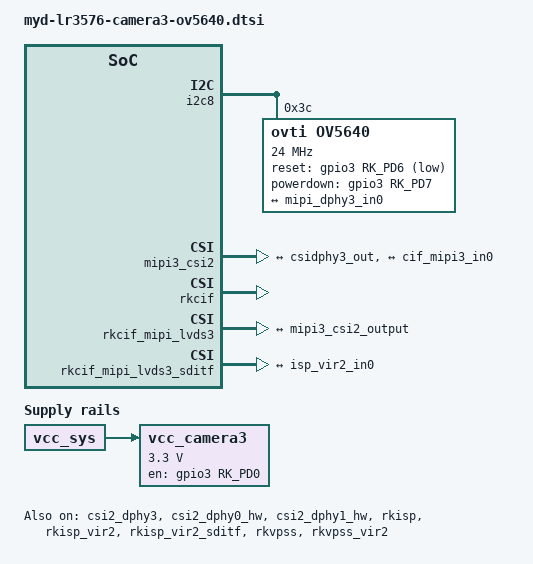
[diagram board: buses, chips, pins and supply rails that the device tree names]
// SPDX-License-Identifier: (GPL-2.0+ OR MIT)
/*
 * Copyright (c) 2024 MYIR Electronics Co., Ltd.
 *
 */

/ {

	vcc_camera3: vcc-camera3 {
		compatible = "regulator-fixed";
		regulator-name = "vcc_camera3";
		regulator-boot-on;
		regulator-always-on;
		regulator-min-microvolt = <3300000>;
		regulator-max-microvolt = <3300000>;
		enable-active-high;
		gpio = <&gpio3 RK_PD0 GPIO_ACTIVE_HIGH>;
		pinctrl-names = "default";
		pinctrl-0 = <&camera3_pwr>;
		vin-supply = <&vcc_sys>;
	};

	clk_camera3_fixed: clock {
		compatible = "fixed-clock";
		#clock-cells = <0>;
		clock-frequency = <24000000>;
		clock-output-names = "CLK_CAMERA3_24MHZ";
	};
};

&csi2_dphy3 {
	status = "okay";

	ports {
		#address-cells = <1>;
		#size-cells = <0>;
		port@0 {
			reg = <0>;
			#address-cells = <1>;
			#size-cells = <0>;

			mipi_dphy3_in0: endpoint@1 {
				reg = <1>;
				remote-endpoint = <&ov5640_out>;
				data-lanes = <1 2>;
			};
		};
		port@1 {
			reg = <1>;
			#address-cells = <1>;
			#size-cells = <0>;

			csidphy3_out: endpoint@0 {
				reg = <0>;
				remote-endpoint = <&mipi3_csi2_input>;
			};
		};
	};
};

&csi2_dphy0_hw {
	status = "okay";
};

&csi2_dphy1_hw {
	status = "okay";
};

&i2c8 {
	status = "okay";
	pinctrl-names = "default";
	pinctrl-0 = <&i2c8m2_xfer>;
	
	ov5640: ov5640@3c {
		status = "okay";
		compatible = "ovti,ov5640";
		reg = <0x3c>;
		clocks = <&clk_camera3_fixed>;
		clock-names = "xclk";
		clock-frequency = <24000000>;
		power-domains = <&power RK3576_PD_VI>;
		reset-gpios = <&gpio3 RK_PD6 GPIO_ACTIVE_LOW>;
		powerdown-gpios = <&gpio3 RK_PD7 GPIO_ACTIVE_HIGH>;
		rockchip,camera-module-index = <0>;
		rockchip,camera-module-facing = "back";
		rockchip,camera-module-name = "default";
		rockchip,camera-module-lens-name = "default";

		port {
			ov5640_out: endpoint {
				remote-endpoint = <&mipi_dphy3_in0>;
				data-lanes = <1 2>;
			};
		};
	};
};

&mipi3_csi2 {
	status = "okay";

	ports {
		#address-cells = <1>;
		#size-cells = <0>;

		port@0 {
			reg = <0>;
			#address-cells = <1>;
			#size-cells = <0>;

			mipi3_csi2_input: endpoint@1 {
				reg = <1>;
				remote-endpoint = <&csidphy3_out>;
			};
		};

		port@1 {
			reg = <1>;
			#address-cells = <1>;
			#size-cells = <0>;

			mipi3_csi2_output: endpoint@0 {
				reg = <0>;
				remote-endpoint = <&cif_mipi3_in0>;
			};
		};
	};
};

&pinctrl {
	camera3_pwr {
		camera3_pwr: camera3-pwr {
			rockchip,pins =
				/* camera power en */
				<3 RK_PD0 RK_FUNC_GPIO &pcfg_pull_none>;
		};
	};

	camera3_default_pins {
		camera3_default_pins: camera3-default-pins {
			rockchip,pins =
				<3 RK_PD6 RK_FUNC_GPIO &pcfg_pull_up>,
				<3 RK_PD7 RK_FUNC_GPIO &pcfg_pull_up>;
		};
	};

	camera3_sleep_pins {
		camera3_sleep_pins: camera3-sleep-pins {
			rockchip,pins =
				<3 RK_PD6 RK_FUNC_GPIO &pcfg_pull_up>,
				<3 RK_PD7 RK_FUNC_GPIO &pcfg_pull_up>;
		};
	};
};

&rkcif {
	status = "okay";
};

&rkcif_mipi_lvds3 {
	status = "okay";

	port {
		cif_mipi3_in0: endpoint {
			remote-endpoint = <&mipi3_csi2_output>;
		};
	};
};

&rkcif_mipi_lvds3_sditf {
	status = "okay";

	port {
		mipi_lvds3_sditf: endpoint {
			remote-endpoint = <&isp_vir2_in0>;
		};
	};
};

&rkcif_mmu {
	status = "okay";
};

&rkisp {
	status = "okay";
};

&rkisp_mmu {
	status = "okay";
};

&rkisp_vir2 {
	status = "okay";

	port {
		#address-cells = <1>;
		#size-cells = <0>;

		isp_vir2_in0: endpoint@0 {
			reg = <0>;
			remote-endpoint = <&mipi_lvds3_sditf>;
		};
	};
};

&rkisp_vir2_sditf {
	status = "okay";
};

&rkvpss {
	status = "okay";
};

&rkvpss_mmu {
	status = "okay";
};

&rkvpss_vir2 {
	status = "okay";
};
